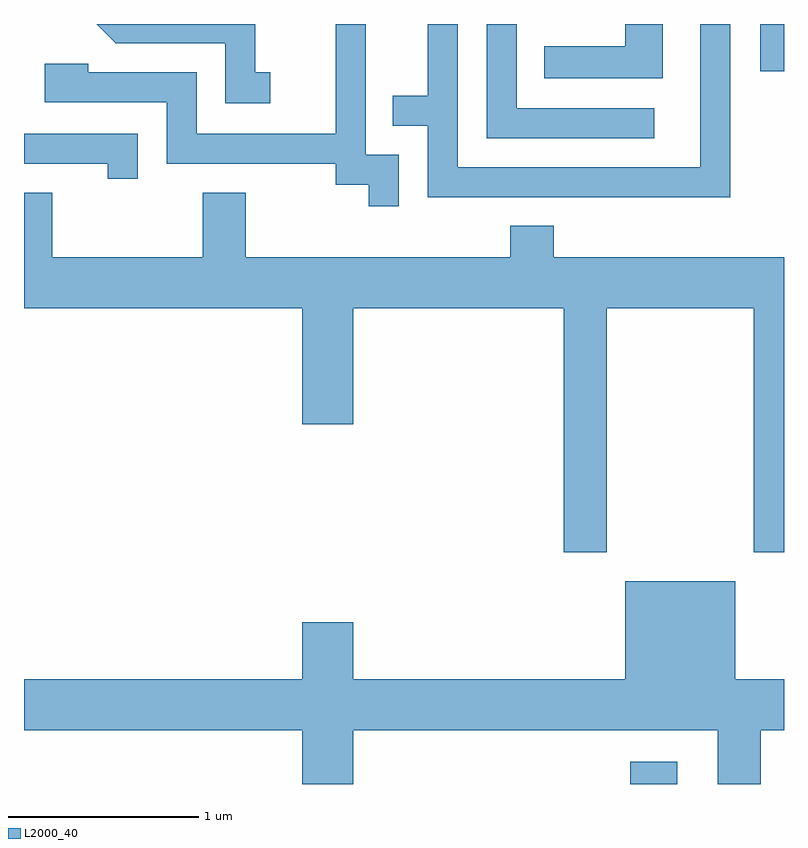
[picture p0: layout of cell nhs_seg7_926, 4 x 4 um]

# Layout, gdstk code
import gdstk
lib = gdstk.Library(unit=1e-6, precision=1e-09)
def R(c, l, rs):  # rectangles x0, y0, x1, y1
    for r in rs: c.add(gdstk.rectangle(r[:2], r[2:], *l))
def P(c, l, *ps):  # polygons
    for p in ps: c.add(gdstk.Polygon(p, *l))
L2000_40 = (2000, 40)

nhs_seg7_926 = lib.new_cell('nhs_seg7_926')
R(nhs_seg7_926, L2000_40, [(216.801,1716.252,217.049,1716.369), (217.486,1720.003,217.611,1720.252)])
P(nhs_seg7_926, L2000_40, [(215.584,1719.564),(215.409,1719.564),(215.409,1720.252),(215.251,1720.252),(215.251,1719.674),(214.519,1719.674),(214.519,1719.999),(213.949,1719.999),(213.949,1720.044),(213.721,1720.044),(213.721,1719.841),(214.361,1719.841),(214.361,1719.516),(215.251,1719.516),(215.251,1719.406),(215.426,1719.406),(215.426,1719.293),(215.584,1719.293)],
  [(217.329,1720.252),(217.171,1720.252),(217.171,1719.499),(215.894,1719.499),(215.894,1720.252),(215.736,1720.252),(215.736,1719.874),(215.553,1719.874),(215.553,1719.716),(215.736,1719.716),(215.736,1719.341),(217.329,1719.341)],
  [(216.928,1719.809),(216.204,1719.809),(216.204,1720.252),(216.046,1720.252),(216.046,1719.651),(216.928,1719.651)],
  [(214.908,1719.999),(214.829,1719.999),(214.829,1720.252),(213.993,1720.252),(214.094,1720.151),(214.671,1720.151),(214.671,1719.836),(214.908,1719.836)],
  [(216.974,1720.252),(216.776,1720.252),(216.776,1720.134),(216.348,1720.134),(216.348,1719.966),(216.974,1719.966)],
  [(214.209,1719.674),(213.611,1719.674),(213.611,1719.516),(214.051,1719.516),(214.051,1719.438),(214.209,1719.438)],
  [(216.679,1718.756),(217.451,1718.756),(217.451,1717.471),(217.611,1717.471),(217.611,1719.024),(216.399,1719.024),(216.399,1719.189),(216.171,1719.189),(216.171,1719.024),(214.779,1719.024),(214.779,1719.364),(214.551,1719.364),(214.551,1719.024),(213.759,1719.024),(213.759,1719.364),(213.611,1719.364),(213.611,1718.756),(215.076,1718.756),(215.076,1718.146),(215.344,1718.146),(215.344,1718.756),(216.451,1718.756),(216.451,1717.471),(216.679,1717.471)],
  [(215.344,1716.536),(217.261,1716.536),(217.261,1716.252),(217.489,1716.252),(217.489,1716.536),(217.611,1716.536),(217.611,1716.804),(217.354,1716.804),(217.354,1717.319),(216.776,1717.319),(216.776,1716.804),(215.344,1716.804),(215.344,1717.104),(215.076,1717.104),(215.076,1716.804),(213.611,1716.804),(213.611,1716.536),(215.076,1716.536),(215.076,1716.252),(215.344,1716.252)])

lib.write_gds('nhs_seg7_926.gds')
